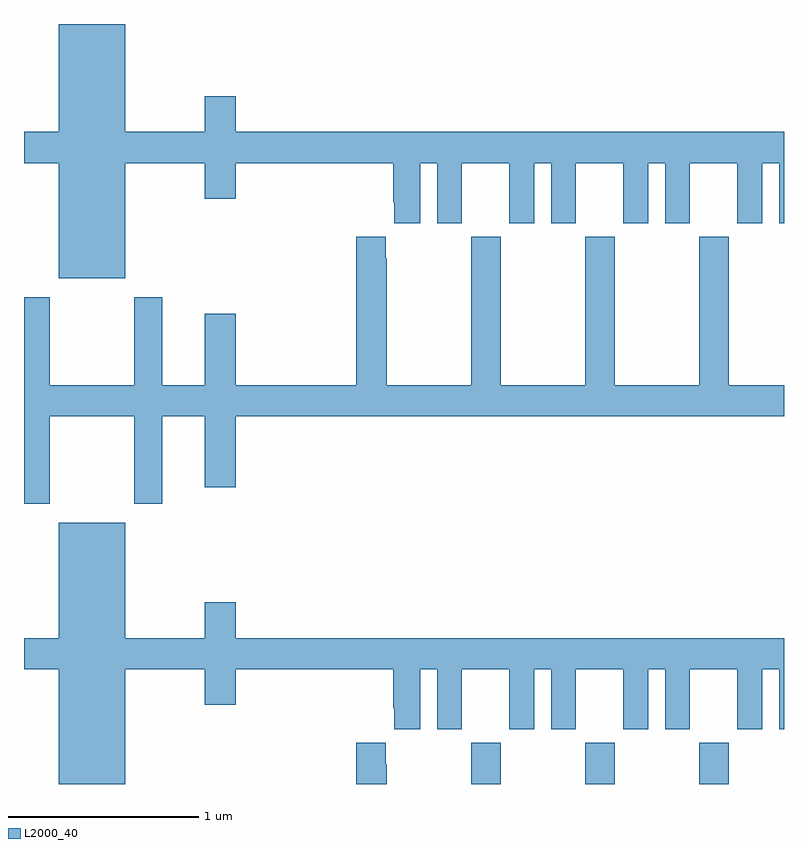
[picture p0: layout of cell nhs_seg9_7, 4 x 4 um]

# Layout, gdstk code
import gdstk
lib = gdstk.Library(unit=1e-6, precision=1e-09)
def R(c, l, rs):  # rectangles x0, y0, x1, y1
    for r in rs: c.add(gdstk.rectangle(r[:2], r[2:], *l))
def A(c, l, x, y, w, h, nx, ny, dx, dy):  # array of equal rectangles
    R(c, l, [(x+i*dx, y+j*dy, x+i*dx+w, y+j*dy+h) for i in range(nx) for j in range(ny)])
def P(c, l, *ps):  # polygons
    for p in ps: c.add(gdstk.Polygon(p, *l))
L2000_40 = (2000, 40)

nhs_seg9_7 = lib.new_cell('nhs_seg9_7')
A(nhs_seg9_7, L2000_40, 113.353, 1178.5, 0.155, 0.216, 3, 1, 0.6, 0)
P(nhs_seg9_7, L2000_40, [(111.532,1181.768),(111.95,1181.768),(111.95,1181.58),(112.114,1181.58),(112.114,1181.768),(112.943,1181.768),(112.943,1181.563),(112.949,1181.563),(112.949,1181.451),(113.086,1181.451),(113.086,1181.768),(113.174,1181.768),(113.174,1181.451),(113.305,1181.451),(113.305,1181.768),(113.555,1181.768),(113.555,1181.451),(113.686,1181.451),(113.686,1181.768),(113.774,1181.768),(113.774,1181.451),(113.905,1181.451),(113.905,1181.768),(114.155,1181.768),(114.155,1181.451),(114.286,1181.451),(114.286,1181.768),(114.374,1181.768),(114.374,1181.451),(114.505,1181.451),(114.505,1181.768),(114.755,1181.768),(114.755,1181.451),(114.886,1181.451),(114.886,1181.768),(114.974,1181.768),(114.974,1181.451),(115,1181.451),(115,1181.932),(112.114,1181.932),(112.114,1182.121),(111.95,1182.121),(111.95,1181.932),(111.532,1181.932),(111.532,1182.5),(111.182,1182.5),(111.182,1181.932),(111,1181.932),(111,1181.768),(111.182,1181.768),(111.182,1181.162),(111.532,1181.162)],
  [(111.135,1180.436),(111.58,1180.436),(111.58,1179.975),(111.727,1179.975),(111.727,1180.436),(111.95,1180.436),(111.95,1180.062),(112.114,1180.062),(112.114,1180.436),(115,1180.436),(115,1180.6),(114.708,1180.6),(114.708,1181.38),(114.553,1181.38),(114.553,1180.6),(114.108,1180.6),(114.108,1181.38),(113.953,1181.38),(113.953,1180.6),(113.508,1180.6),(113.508,1181.38),(113.353,1181.38),(113.353,1180.6),(112.908,1180.6),(112.908,1181.267),(112.903,1181.267),(112.903,1181.38),(112.748,1181.38),(112.748,1180.6),(112.114,1180.6),(112.114,1180.975),(111.95,1180.975),(111.95,1180.6),(111.727,1180.6),(111.727,1181.062),(111.58,1181.062),(111.58,1180.6),(111.135,1180.6),(111.135,1181.062),(111,1181.062),(111,1179.975),(111.135,1179.975)],
  [(111.532,1179.104),(111.95,1179.104),(111.95,1178.916),(112.114,1178.916),(112.114,1179.104),(112.943,1179.104),(112.943,1178.899),(112.949,1178.899),(112.949,1178.787),(113.086,1178.787),(113.086,1179.104),(113.174,1179.104),(113.174,1178.787),(113.305,1178.787),(113.305,1179.104),(113.555,1179.104),(113.555,1178.787),(113.686,1178.787),(113.686,1179.104),(113.774,1179.104),(113.774,1178.787),(113.905,1178.787),(113.905,1179.104),(114.155,1179.104),(114.155,1178.787),(114.286,1178.787),(114.286,1179.104),(114.374,1179.104),(114.374,1178.787),(114.505,1178.787),(114.505,1179.104),(114.755,1179.104),(114.755,1178.787),(114.886,1178.787),(114.886,1179.104),(114.974,1179.104),(114.974,1178.787),(115,1178.787),(115,1179.268),(112.114,1179.268),(112.114,1179.457),(111.95,1179.457),(111.95,1179.268),(111.532,1179.268),(111.532,1179.874),(111.182,1179.874),(111.182,1179.268),(111,1179.268),(111,1179.104),(111.182,1179.104),(111.182,1178.5),(111.532,1178.5)],
  [(112.908,1178.603),(112.903,1178.603),(112.903,1178.716),(112.748,1178.716),(112.748,1178.5),(112.908,1178.5)])

lib.write_gds('nhs_seg9_7.gds')
